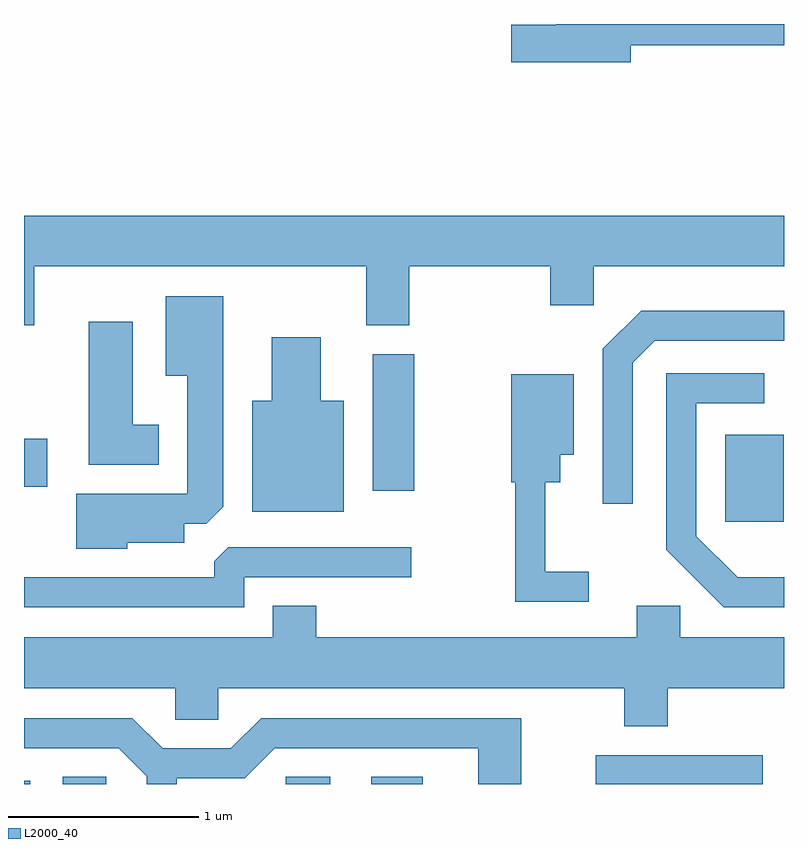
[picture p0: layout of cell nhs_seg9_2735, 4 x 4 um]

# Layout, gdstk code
import gdstk
lib = gdstk.Library(unit=1e-6, precision=1e-09)
def R(c, l, rs):  # rectangles x0, y0, x1, y1
    for r in rs: c.add(gdstk.rectangle(r[:2], r[2:], *l))
def P(c, l, *ps):  # polygons
    for p in ps: c.add(gdstk.Polygon(p, *l))
L2000_40 = (2000, 40)

nhs_seg9_2735 = lib.new_cell('nhs_seg9_2735')
R(nhs_seg9_2735, L2000_40, [(265.611,1982.432,265.644,1982.449), (265.816,1982.432,266.044,1982.469), (266.988,1982.432,267.224,1982.469), (267.438,1982.432,267.709,1982.469), (268.621,1982.432,269.498,1982.584), (269.301,1983.811,269.609,1984.269), (267.446,1983.976,267.664,1984.694), (265.611,1983.996,265.734,1984.249)])
P(nhs_seg9_2735, L2000_40, [(268.804,1986.321),(269.611,1986.321),(269.611,1986.432),(268.411,1986.432),(268.411,1986.429),(268.176,1986.429),(268.176,1986.231),(268.804,1986.231)],
  [(265.664,1985.156),(267.411,1985.156),(267.411,1984.846),(267.639,1984.846),(267.639,1985.156),(268.381,1985.156),(268.381,1984.951),(268.609,1984.951),(268.609,1985.156),(269.611,1985.156),(269.611,1985.424),(265.611,1985.424),(265.611,1984.846),(265.664,1984.846)],
  [(266.154,1983.701),(266.454,1983.701),(266.454,1983.801),(266.569,1983.801),(266.659,1983.892),(266.659,1984.999),(266.356,1984.999),(266.356,1984.581),(266.471,1984.581),(266.471,1983.959),(265.886,1983.959),(265.886,1983.671),(266.154,1983.671)],
  [(268.814,1984.649),(268.932,1984.766),(269.611,1984.766),(269.611,1984.924),(268.859,1984.924),(268.656,1984.722),(268.656,1983.908),(268.814,1983.908)],
  [(266.319,1984.324),(266.184,1984.324),(266.184,1984.864),(265.951,1984.864),(265.951,1984.111),(266.319,1984.111)],
  [(267.294,1984.449),(267.174,1984.449),(267.174,1984.784),(266.916,1984.784),(266.916,1984.449),(266.811,1984.449),(266.811,1983.866),(267.294,1983.866)],
  [(269.611,1983.519),(269.367,1983.519),(269.149,1983.737),(269.149,1984.436),(269.508,1984.436),(269.508,1984.594),(268.991,1984.594),(268.991,1983.664),(269.294,1983.361),(269.611,1983.361)],
  [(268.583,1983.549),(268.354,1983.549),(268.354,1984.021),(268.434,1984.021),(268.434,1984.166),(268.504,1984.166),(268.504,1984.589),(268.176,1984.589),(268.176,1984.021),(268.196,1984.021),(268.196,1983.391),(268.583,1983.391)],
  [(266.769,1983.521),(267.648,1983.521),(267.648,1983.679),(266.687,1983.679),(266.611,1983.604),(266.611,1983.519),(265.611,1983.519),(265.611,1983.361),(266.769,1983.361)],
  [(268.999,1982.936),(269.611,1982.936),(269.611,1983.204),(269.064,1983.204),(269.064,1983.369),(268.836,1983.369),(268.836,1983.204),(267.149,1983.204),(267.149,1983.369),(266.921,1983.369),(266.921,1983.204),(265.611,1983.204),(265.611,1982.936),(266.406,1982.936),(266.406,1982.771),(266.634,1982.771),(266.634,1982.936),(268.771,1982.936),(268.771,1982.736),(268.999,1982.736)],
  [(266.414,1982.461),(266.772,1982.461),(266.932,1982.621),(268.001,1982.621),(268.001,1982.432),(268.229,1982.432),(268.229,1982.779),(266.859,1982.779),(266.699,1982.619),(266.342,1982.619),(266.182,1982.779),(265.611,1982.779),(265.611,1982.621),(266.109,1982.621),(266.256,1982.474),(266.256,1982.432),(266.414,1982.432)])

lib.write_gds('nhs_seg9_2735.gds')
